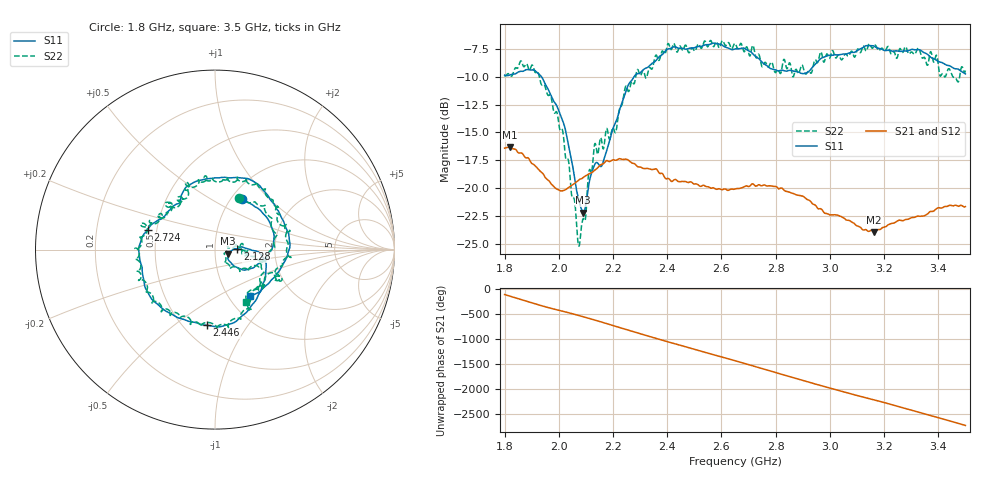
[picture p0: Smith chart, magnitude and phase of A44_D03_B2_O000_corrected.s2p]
! Created with skrf 1.9.0 (http://scikit-rf.org).
# Hz S RI R 50.0
!freq ReS11 ImS11 ReS21 ImS21 ReS12 ImS12 ReS22 ImS22
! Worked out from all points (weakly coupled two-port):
!   1601 points, 1.8 GHz to 3.5 GHz, reference 50 ohm
!   highest |S21| = -16.32 dB at 1.818 GHz (marker M1); lowest = -23.9 dB at 3.163 GHz (marker M2)
!   lowest |S11| = -22.2 dB at 2.09 GHz (marker M3), VSWR 1.17, Z = 57.9 - j2.73 ohm
!   |S11| at or under -10 dB: 1.936 GHz to 2.278 GHz (341.5 MHz wide, 16.2 % of centre)
!   |S22| runs from -25.2 to -6.7 dB; largest |S21 - S12| = 0.0026
!   S11 on the Smith chart (normalised r, x): 1.8 GHz: 1.12, +0.71; 2.128 GHz: 1.28, +0.00; 2.446 GHz: 0.65, -0.66; 2.724 GHz: 0.45, +0.12; 3.5 GHz: 1.26, -0.73
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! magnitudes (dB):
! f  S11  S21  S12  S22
! 1.8 GHz  -9.8  -16.4  -16.4  -9.9
! 1.818 GHz  -9.9  -16.3  -16.3  -9.8
! 1.903 GHz  -9.4  -17.8  -17.8  -9.0
! 1.968 GHz  -11.5  -19.5  -19.5  -11.6
! 2.015 GHz  -14.0  -20.2  -20.3  -14.9
! 2.072 GHz  -20.9  -19.3  -19.3  -25.1
! 2.084 GHz  -21.9  -19.2  -19.1  -23.4
! 2.09 GHz  -22.2  -19.0  -19.1  -22.7
! 2.128 GHz  -18.1  -18.5  -18.5  -16.8
! 2.162 GHz  -17.8  -17.8  -17.8  -16.4
! 2.209 GHz  -14.1  -17.5  -17.4  -15.0
! 2.26 GHz  -10.6  -17.6  -17.6  -11.2
! 2.367 GHz  -8.3  -18.5  -18.5  -8.5
! 2.446 GHz  -7.4  -19.4  -19.4  -7.2
! 2.65 GHz  -7.5  -20.1  -20.0  -7.0
! 2.724 GHz  -8.2  -19.8  -19.8  -8.0
! 2.802 GHz  -9.4  -19.9  -19.9  -9.6
! 2.934 GHz  -9.2  -21.4  -21.3  -9.6
! 3.163 GHz  -7.3  -23.9  -23.9  -7.2
! 3.217 GHz  -7.6  -23.3  -23.2  -7.4
! 3.468 GHz  -9.3  -21.6  -21.6  -10.3
! 3.5 GHz  -9.7  -21.7  -21.6  -9.4
